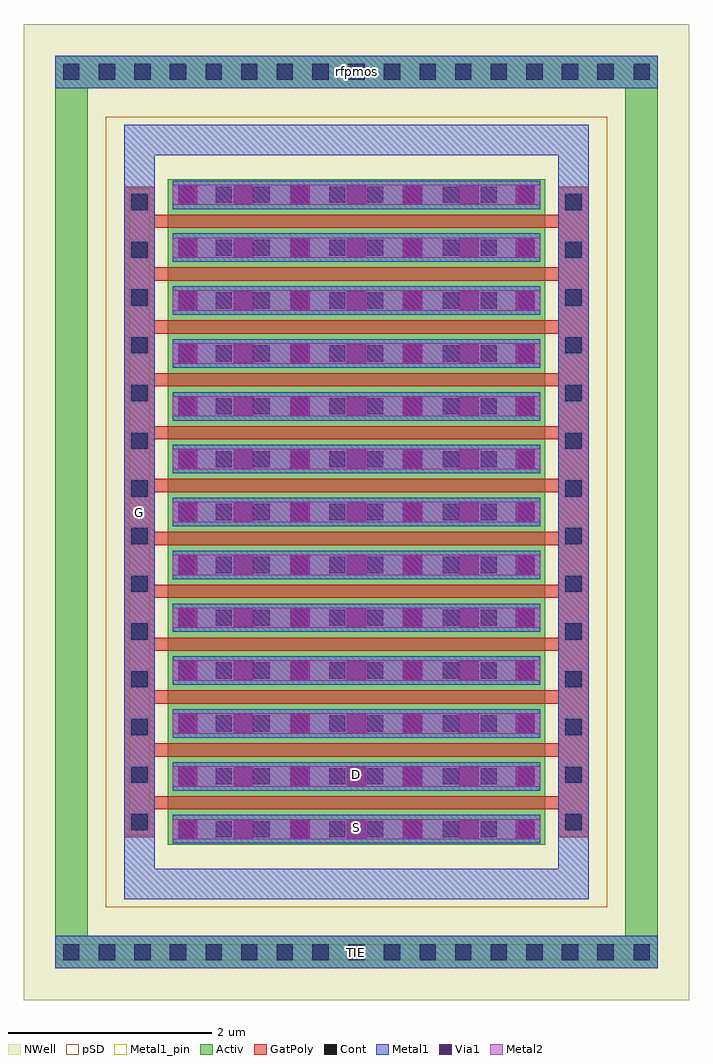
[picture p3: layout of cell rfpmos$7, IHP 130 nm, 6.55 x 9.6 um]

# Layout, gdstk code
import gdstk
lib = gdstk.Library(unit=1e-6, precision=5e-09)
def R(c, l, rs):  # rectangles x0, y0, x1, y1
    for r in rs: c.add(gdstk.rectangle(r[:2], r[2:], *l))
def A(c, l, x, y, w, h, nx, ny, dx, dy):  # array of equal rectangles
    R(c, l, [(x+i*dx, y+j*dy, x+i*dx+w, y+j*dy+h) for i in range(nx) for j in range(ny)])
def P(c, l, *ps):  # polygons
    for p in ps: c.add(gdstk.Polygon(p, *l))
Activ = (1, 0)
GatPoly = (5, 0)
Cont = (6, 0)
Metal1 = (8, 0)
Metal1_pin = (8, 2)
Metal2 = (10, 0)
pSD = (14, 0)
Via1 = (19, 0)
NWell = (31, 0)

rfpmos_7 = lib.new_cell('rfpmos$7')
R(rfpmos_7, Activ, [(1.42,1.525,5.13,8.075)])
P(rfpmos_7, Activ, [(0.31,0.31),(0.31,8.97),(0.63,8.97),(0.63,0.63),(5.92,0.63),(5.92,8.97),(0.31,8.97),(0.31,9.29),(6.24,9.29),(6.24,0.31)])
A(rfpmos_7, GatPoly, 1.29, 1.875, 3.97, 0.13, 1, 12, 0, 0.52)
R(rfpmos_7, GatPoly, [(0.99,1.6,1.29,8), (5.26,1.6,5.56,8)])
A(rfpmos_7, Cont, 0.39, 0.39, 0.16, 0.16, 8, 2, 0.35, 8.66)
A(rfpmos_7, Cont, 3.195, 0.39, 0.16, 0.16, 8, 2, 0.35, 8.66)
A(rfpmos_7, Cont, 1.52, 1.6, 0.16, 0.16, 3, 13, 0.37, 0.52)
A(rfpmos_7, Cont, 2.635, 1.6, 0.16, 0.16, 1, 13, 0, 0.52)
A(rfpmos_7, Cont, 3.005, 1.6, 0.16, 0.16, 1, 13, 0, 0.52)
A(rfpmos_7, Cont, 3.38, 1.6, 0.16, 0.16, 1, 13, 0, 0.52)
A(rfpmos_7, Cont, 3.75, 1.6, 0.16, 0.16, 1, 13, 0, 0.52)
A(rfpmos_7, Cont, 4.125, 1.6, 0.16, 0.16, 1, 13, 0, 0.52)
A(rfpmos_7, Cont, 4.495, 1.6, 0.16, 0.16, 1, 13, 0, 0.52)
A(rfpmos_7, Cont, 4.87, 1.6, 0.16, 0.16, 1, 13, 0, 0.52)
A(rfpmos_7, Cont, 1.06, 2.135, 0.16, 0.16, 1, 6, 0, 0.47)
A(rfpmos_7, Cont, 5.33, 2.135, 0.16, 0.16, 1, 6, 0, 0.47)
A(rfpmos_7, Cont, 1.06, 4.95, 0.16, 0.16, 1, 7, 0, 0.47)
A(rfpmos_7, Cont, 5.33, 4.95, 0.16, 0.16, 1, 7, 0, 0.47)
R(rfpmos_7, Cont, [(6,0.39,6.16,0.55), (1.06,1.67,1.22,1.83), (5.33,1.67,5.49,1.83), (6,9.05,6.16,9.21)])
A(rfpmos_7, Metal1, 1.47, 1.54, 3.61, 0.28, 1, 13, 0, 0.52)
R(rfpmos_7, Metal1, [(0.31,0.31,6.24,0.63), (1.04,1.62,1.24,7.98), (5.31,1.62,5.51,7.98), (0.31,8.97,6.24,9.29)])
P(rfpmos_7, Metal1, [(0.99,0.99),(0.99,8.31),(1.29,8.31),(1.29,1.29),(5.26,1.29),(5.26,8.31),(0.99,8.31),(0.99,8.61),(5.56,8.61),(5.56,0.99)])
R(rfpmos_7, Metal1_pin, [(0.31,0.39,6.24,0.55), (0.31,0.39,6.24,0.55), (1.47,1.54,5.08,1.82), (1.47,1.54,5.08,1.82), (1.04,1.62,1.24,7.98), (1.04,1.62,1.24,7.98), (1.47,2.06,5.08,2.34), (1.47,2.06,5.08,2.34)])
A(rfpmos_7, Metal2, 1.47, 1.58, 3.61, 0.2, 1, 13, 0, 0.52)
R(rfpmos_7, pSD, [(0.81,0.91,5.74,8.69)])
A(rfpmos_7, Via1, 1.52, 1.585, 0.19, 0.19, 1, 13, 0, 0.52)
A(rfpmos_7, Via1, 2.07, 1.585, 0.19, 0.19, 3, 13, 0.555, 0.52)
A(rfpmos_7, Via1, 3.73, 1.585, 0.19, 0.19, 3, 13, 0.555, 0.52)
R(rfpmos_7, NWell, [(0,0,6.55,9.6)])
rfpmos_7.add(gdstk.Label('S', (3.275,1.7), layer=63, texttype=0))
rfpmos_7.add(gdstk.Label('D', (3.275,2.22), layer=63, texttype=0))
rfpmos_7.add(gdstk.Label('G', (1.14,4.8), layer=63, texttype=0))
rfpmos_7.add(gdstk.Label('TIE', (3.275,0.47), layer=63, texttype=0))
rfpmos_7.add(gdstk.Label('rfpmos', (3.275,9.13), layer=63, texttype=0))

lib.write_gds('rfpmos_7.gds')
